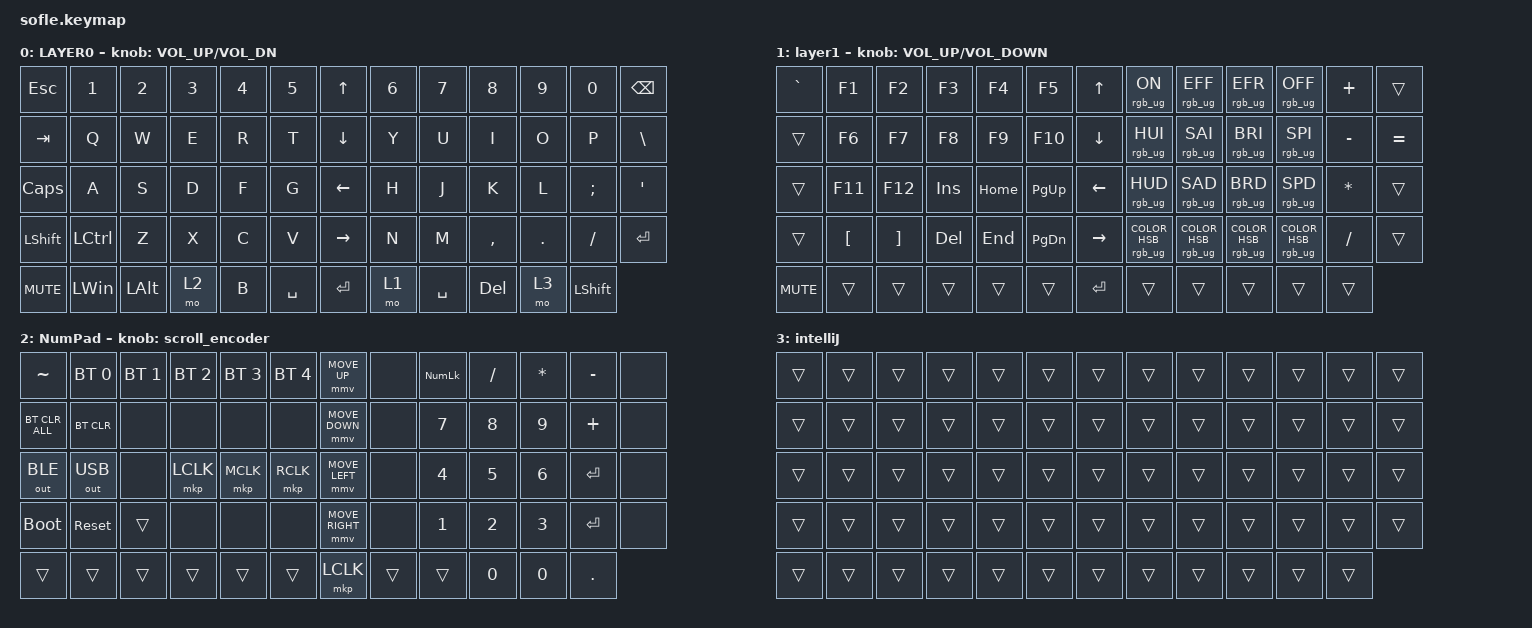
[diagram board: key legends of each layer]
#include <behaviors/mouse_keys.dtsi>
#include <behaviors.dtsi>
#include <dt-bindings/zmk/bt.h>
#include <dt-bindings/zmk/keys.h>
#include <dt-bindings/zmk/mouse.h>
#include <dt-bindings/zmk/outputs.h>
#include <dt-bindings/zmk/rgb.h>

#define ZMK_MOUSE_DEFAULT_MOVE_VAL 1200  // 600
#define ZMK_MOUSE_DEFAULT_SCRL_VAL 20    // 10
#define U_MS_U &mmv MOVE_UP
#define U_MS_D &mmv MOVE_DOWN
#define U_MS_L &mmv MOVE_LEFT
#define U_MS_R &mmv MOVE_RIGHT
#define ZMK_MOUSE_DEFAULT_MOVE_VAL 1200  //  600
#define ZMK_MOUSE_DEFAULT_SCRL_VAL 20    // 10

/ {
    behaviors {
        mmv {
            acceleration-exponent = <1>;      // 1
            time-to-max-speed-ms = <900>;    // 40
            delay-ms = <0>;                   // 0
        };

        msc {
            acceleration-exponent = <1>;      // 0
            time-to-max-speed-ms = <400>;      // 500
            delay-ms = <0>;                   //   10
        };
    };

    scroll_encoder: scroll_encoder {
        compatible = "zmk,behavior-sensor-rotate";
        #sensor-binding-cells = <0>;
        bindings = <&msc SCRL_DOWN>, <&msc SCRL_UP>;

        tap-ms = <30>;
    };

    keymap {
        compatible = "zmk,keymap";

        General {
            bindings = <
&kp ESC     &kp N1        &kp N2        &kp N3  &kp N4  &kp N5       &kp UP_ARROW     &kp N6  &kp N7     &kp N8      &kp N9      &kp N0          &kp BACKSPACE
&kp TAB     &kp Q         &kp W         &kp E   &kp R   &kp T        &kp DOWN_ARROW   &kp Y   &kp U      &kp I       &kp O       &kp P           &kp BSLH
&kp CAPS    &kp A         &kp S         &kp D   &kp F   &kp G        &kp LEFT_ARROW   &kp H   &kp J      &kp K       &kp L       &kp SEMI        &kp APOS
&kp LSHFT   &kp LCTRL     &kp Z         &kp X   &kp C   &kp V        &kp RIGHT_ARROW  &kp N   &kp M      &kp COMMA   &kp PERIOD  &kp SLASH       &kp ENTER
&kp C_MUTE  &kp LEFT_WIN  &kp LEFT_ALT  &mo 2   &kp B   &kp SPACE    &kp ENTER        &mo 1   &kp SPACE  &kp DELETE  &mo 3       &kp LEFT_SHIFT
            >;

            sensor-bindings = <&inc_dec_kp C_VOLUME_UP C_VOL_DN>;
            display-name = "LAYER0";
        };

        FuncLayer {
            bindings = <
&kp GRAVE   &kp F1            &kp F2             &kp F3   &kp F4    &kp F5       &kp UP           &rgb_ug RGB_ON                  &rgb_ug RGB_EFF                   &rgb_ug RGB_EFR                   &rgb_ug RGB_OFF                  &kp PLUS      &trans
&trans      &kp F6            &kp F7             &kp F8   &kp F9    &kp F10      &kp DOWN_ARROW   &rgb_ug RGB_HUI                 &rgb_ug RGB_SAI                   &rgb_ug RGB_BRI                   &rgb_ug RGB_SPI                  &kp MINUS     &kp EQUAL
&trans      &kp F11           &kp F12            &kp INS  &kp HOME  &kp PG_UP    &kp LEFT_ARROW   &rgb_ug RGB_HUD                 &rgb_ug RGB_SAD                   &rgb_ug RGB_BRD                   &rgb_ug RGB_SPD                  &kp ASTERISK  &trans
&trans      &kp LEFT_BRACKET  &kp RIGHT_BRACKET  &kp DEL  &kp END   &kp PG_DN    &kp RIGHT_ARROW  &rgb_ug RGB_COLOR_HSB(0,94,58)  &rgb_ug RGB_COLOR_HSB(125,91,61)  &rgb_ug RGB_COLOR_HSB(249,88,50)  &rgb_ug RGB_COLOR_HSB(66,92,61)  &kp SLASH     &trans
&kp C_MUTE  &trans            &trans             &trans   &trans    &trans       &kp ENTER        &trans                          &trans                            &trans                            &trans                           &trans
            >;

            display-name = "layer1";
            sensor-bindings = <&inc_dec_kp C_VOLUME_UP C_VOLUME_DOWN>;
        };

        NumPad {
            bindings = <
&kp TILDE       &bt BT_SEL 0  &bt BT_SEL 1  &bt BT_SEL 2  &bt BT_SEL 3  &bt BT_SEL 4    &mmv MOVE_UP     &none   &kp KP_NUMLOCK  &kp SLASH     &kp ASTERISK  &kp MINUS   &none
&bt BT_CLR_ALL  &bt BT_CLR    &none         &none         &none         &none           &mmv MOVE_DOWN   &none   &kp NUMBER_7    &kp NUMBER_8  &kp NUMBER_9  &kp PLUS    &none
&out OUT_BLE    &out OUT_USB  &none         &mkp LCLK     &mkp MCLK     &mkp RCLK       &mmv MOVE_LEFT   &none   &kp NUMBER_4    &kp NUMBER_5  &kp NUMBER_6  &kp ENTER   &none
&bootloader     &sys_reset    &trans        &none         &none         &none           &mmv MOVE_RIGHT  &none   &kp NUMBER_1    &kp NUMBER_2  &kp NUMBER_3  &kp ENTER   &none
&trans          &trans        &trans        &trans        &trans        &trans          &mkp LCLK        &trans  &trans          &kp NUMBER_0  &kp N0        &kp PERIOD
            >;

            sensor-bindings = <&scroll_encoder>;
        };

        intelliJ {
            bindings = <
&trans  &trans  &trans  &trans  &trans  &trans    &trans  &trans  &trans  &trans  &trans  &trans  &trans
&trans  &trans  &trans  &trans  &trans  &trans    &trans  &trans  &trans  &trans  &trans  &trans  &trans
&trans  &trans  &trans  &trans  &trans  &trans    &trans  &trans  &trans  &trans  &trans  &trans  &trans
&trans  &trans  &trans  &trans  &trans  &trans    &trans  &trans  &trans  &trans  &trans  &trans  &trans
&trans  &trans  &trans  &trans  &trans  &trans    &trans  &trans  &trans  &trans  &trans  &trans
            >;
        };
    };
};
